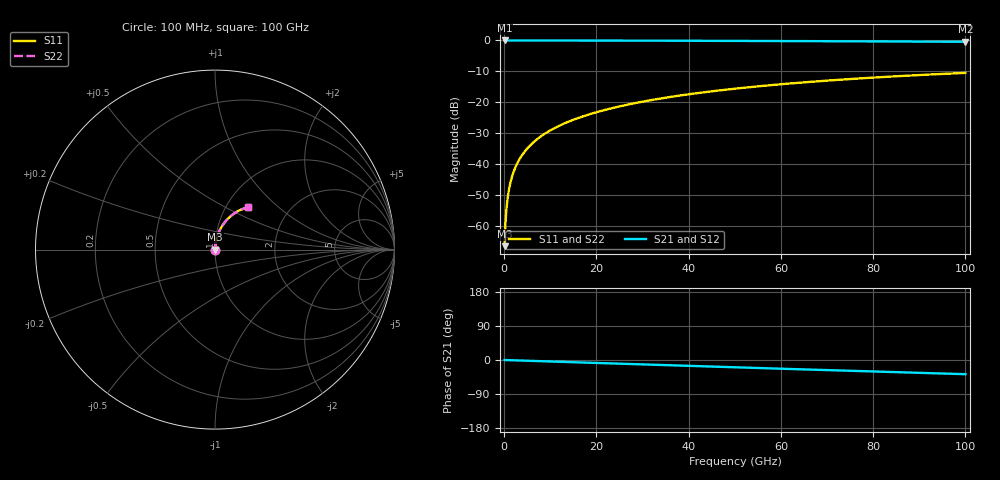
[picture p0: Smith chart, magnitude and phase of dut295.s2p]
! Touchstone file exported from HFSS 2026.1.0
!  File:  C:/ffzhzh/LocalFiles/Ansys_Project_Files/temp_train_TSV_295_1783509062_41296.aedt
!  Generated:  07:12:22 PM Jul  8, 2026
!  Design:  TSV
!  Project:  temp_train_TSV_295_1783509062_41296
! Variables:
!  h_bsmrdl = 2um
!  h_ox = 20um
!  h_rdl = 5um
!  h_sub = 61.38um
!  h_tmrdl = 5um
!  h_tsv = 61.38um
!  h_via = 3um
!  l_bsmrdl = 300um
!  l_sub = 410.94um
!  l_tmrdl = 200um
!  m_sub = 200um
!  pitch = 48.91um
!  r_tsv = 5.47um
!  s_tmrdl = 10um
!  w_bsmrdl = 18um
!  w_sub = 500um
!  w_tmrdl = 12um
!  x_tsv_center1 = 206um
!  x_tsv_center2 = 524um
!  x_tsv_center3 = 736um
!  x_tsv_center4 = 1054um
!  x_tsv_center5 = 1266um
!  x_tsv_center6 = 1584um
# GHz S MA R 50.000000
! Terminal data exported
! Port[1] = TSV1_1_T1
! Port[2] = TSV1_1_T2
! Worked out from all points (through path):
!   1000 points, 100 MHz to 100 GHz, reference 50 ohm
!   highest |S21| = 0.00 dB at 100 MHz (marker M1); lowest = -0.4 dB at 100 GHz (marker M2)
!   group delay of S21, straight-line fit = 1.04 ps
!   lowest |S11| = -66.6 dB at 100 MHz (marker M3), VSWR 1.00, Z = 50 + j0.0381 ohm
!   |S11| at or under -10 dB: start of sweep to end of sweep
!   |S22| runs from -66.6 to -10.5 dB; largest |S21 - S12| = 5.4e-15
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0.1  0.0004657 54.7  0.9997 -0.0  0.9997 -0.0  0.0004657 54.7
! Gamma 0 0 0 0
! Port Impedance 50 0 50 0
0.4  0.001507 78.5  0.9997 -0.2  0.9997 -0.2  0.001507 78.5
0.7  0.002586 82.7  0.9997 -0.3  0.9997 -0.3  0.002586 82.7
0.8  0.002948 83.4  0.9997 -0.3  0.9997 -0.3  0.002948 83.4
1  0.003671 84.3  0.9997 -0.4  0.9997 -0.4  0.003671 84.3
1.3  0.004753 85.0  0.9996 -0.5  0.9996 -0.5  0.004753 85.0
1.7  0.006188 85.5  0.9996 -0.7  0.9996 -0.7  0.006188 85.5
2.3  0.008321 85.7  0.9995 -0.9  0.9995 -0.9  0.008321 85.7
3  0.01078 85.7  0.9994 -1.2  0.9994 -1.2  0.01078 85.7
3.8  0.01357 85.7  0.9992 -1.5  0.9992 -1.5  0.01357 85.7
4.8  0.01704 85.5  0.9991 -1.9  0.9991 -1.9  0.01704 85.5
6  0.02117 85.3  0.9989 -2.4  0.9989 -2.4  0.02117 85.3
8.8  0.03079 84.6  0.9985 -3.5  0.9985 -3.5  0.03079 84.6
12.4  0.04309 83.5  0.9978 -4.9  0.9978 -4.9  0.04309 83.5
16.8  0.05801 82.0  0.9969 -6.6  0.9969 -6.6  0.05801 82.0
24.2  0.08282 79.4  0.9948 -9.4  0.9948 -9.4  0.08282 79.4
33.4  0.1131 76.0  0.9916 -13.0  0.9916 -13.0  0.1131 76.0
41.2  0.1381 73.2  0.9882 -15.9  0.9882 -15.9  0.1381 73.2
50.1  0.1657 69.9  0.9837 -19.3  0.9837 -19.3  0.1657 69.9
66.7  0.2144 63.8  0.974 -25.5  0.974 -25.5  0.2144 63.8
83.4  0.259 57.8  0.9629 -31.5  0.9629 -31.5  0.259 57.8
100  0.2983 52.0  0.9512 -37.4  0.9512 -37.4  0.2983 52.0
